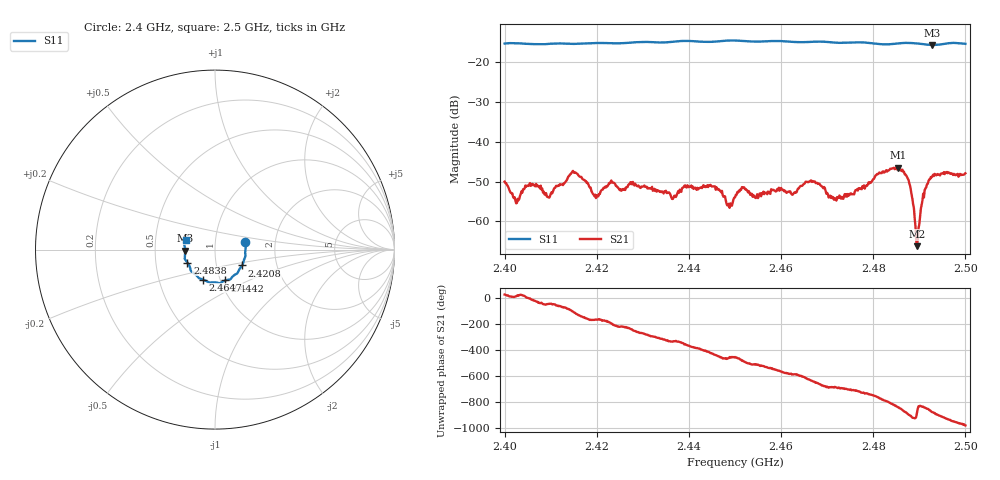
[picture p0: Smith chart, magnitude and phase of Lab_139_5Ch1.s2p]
# Hz S RI R 50
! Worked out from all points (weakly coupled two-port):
!   601 points, 2.4 GHz to 2.5 GHz, reference 50 ohm
!   highest |S21| = -46.50 dB at 2.4853 GHz (marker M1); lowest = -66.2 dB at 2.4895 GHz (marker M2)
!   lowest |S11| = -15.6 dB at 2.4928 GHz (marker M3), VSWR 1.40, Z = 35.8 - j0.406 ohm
!   |S11| at or under -10 dB: start of sweep to end of sweep
!   S12 and S22 are empty: the file has one direction only
!   S11 on the Smith chart (normalised r, x): 2.4 GHz: 1.40, +0.12; 2.4208 GHz: 1.33, -0.24; 2.4442 GHz: 1.05, -0.37; 2.4647 GHz: 0.83, -0.29; 2.4838 GHz: 0.73, -0.11; 2.5 GHz: 0.72, +0.08
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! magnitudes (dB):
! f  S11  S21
! 2.4 GHz  -15.2  -50.0
! 2.4027 GHz  -15.2  -55.4
! 2.405 GHz  -15.3  -51.0
! 2.4097 GHz  -15.3  -54.0
! 2.4147 GHz  -15.3  -47.6
! 2.4167 GHz  -15.2  -48.8
! 2.4208 GHz  -15.1  -52.5
! 2.4333 GHz  -15.0  -52.2
! 2.4442 GHz  -14.8  -51.3
! 2.4487 GHz  -14.5  -55.6
! 2.45 GHz  -14.5  -53.9
! 2.4647 GHz  -14.9  -50.9
! 2.4667 GHz  -14.8  -50.0
! 2.472 GHz  -15.0  -54.8
! 2.4833 GHz  -15.4  -47.2
! 2.4838 GHz  -15.4  -46.8
! 2.4853 GHz  -15.2  -46.5
! 2.4877 GHz  -15.1  -49.6
! 2.4895 GHz  -15.2  -66.2
! 2.4912 GHz  -15.5  -52.1
! 2.4928 GHz  -15.6  -48.6
! 2.5 GHz  -15.3  -47.9
